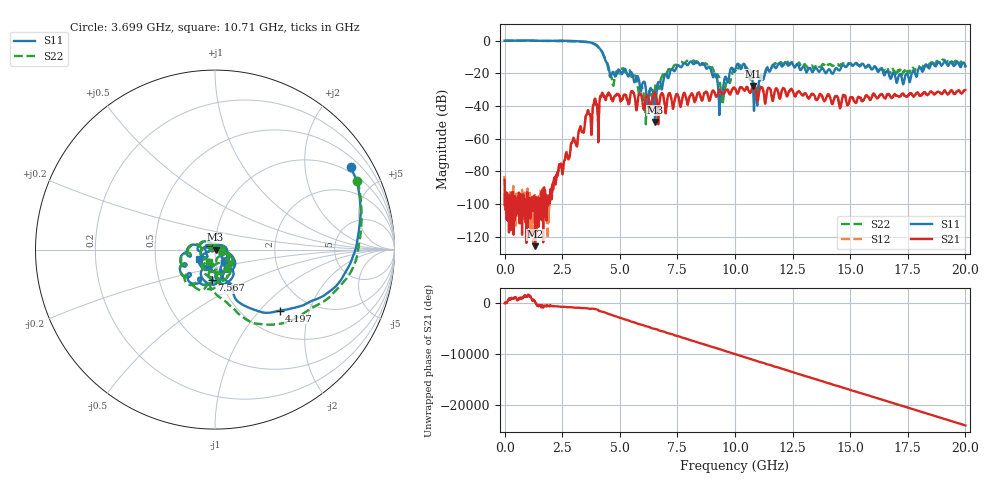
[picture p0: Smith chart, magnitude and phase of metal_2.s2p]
#  HZ  S  RI  R  50.00
! Rohde & Schwarz Vector Network Analyzer
! Rohde-Schwarz,ZNB20-2Port,1311601062102128,3.60
! Created: UTC 4/29/2024, 3:48:32 PM
! freq[Hz]  re:S11  im:S11  re:S21  im:S21  re:S12  im:S12  re:S22  im:S22
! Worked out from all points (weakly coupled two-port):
!   2007 points, 100 kHz to 20 GHz, reference 50 ohm
!   highest |S21| = -27.73 dB at 10.8 GHz (marker M1); lowest = -125.8 dB at 1.326 GHz (marker M2)
!   lowest |S11| = -49.8 dB at 6.53 GHz (marker M3), VSWR 1.01, Z = 50.3 - j0.1 ohm
!   |S11| at or under -10 dB: 4.327 GHz to end of sweep
!   |S22| runs from -51.2 to 0.1 dB; largest |S21 - S12| = 0.0021
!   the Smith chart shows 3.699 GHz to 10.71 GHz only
!   S11 on the Smith chart (normalised r, x): 3.699 GHz: 0.78, +3.38; 4.197 GHz: 1.44, -1.29; 7.567 GHz: 0.91, -0.32; 10.71 GHz: 0.83, -0.09
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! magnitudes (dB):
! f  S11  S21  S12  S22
! 100 kHz  0.0  -85.3  -82.8  0.1
! 1.326 GHz  -0.1  -125.8  -106.0  -0.1
! 2.463 GHz  0.0  -75.4  -75.6  -0.3
! 3.34 GHz  -0.6  -55.4  -55.0  -0.6
! 3.699 GHz  -1.0  -45.0  -45.1  -1.1
! 4.197 GHz  -6.1  -33.8  -34.2  -6.1
! 4.646 GHz  -20.6  -35.3  -35.4  -22.8
! 5.394 GHz  -21.5  -38.6  -38.7  -17.8
! 6.132 GHz  -29.8  -34.5  -34.5  -51.2
! 6.53 GHz  -49.8  -31.9  -31.9  -28.4
! 6.67 GHz  -25.4  -51.2  -51.1  -27.9
! 7.567 GHz  -15.3  -35.6  -35.5  -14.7
! 8.883 GHz  -16.0  -36.8  -36.8  -17.1
! 9.372 GHz  -33.7  -31.2  -31.2  -28.4
! 10 GHz  -18.5  -29.3  -29.4  -18.0
! 10.71 GHz  -19.5  -30.7  -30.6  -22.5
! 10.8 GHz  -32.3  -27.7  -27.7  -24.8
! 10.91 GHz  -31.7  -31.2  -31.3  -31.4
! 11.66 GHz  -14.7  -35.8  -35.8  -14.9
! 13.34 GHz  -19.1  -32.6  -32.5  -15.2
! 16.67 GHz  -19.9  -32.8  -32.9  -19.5
! 20 GHz  -15.8  -30.2  -30.3  -14.8
